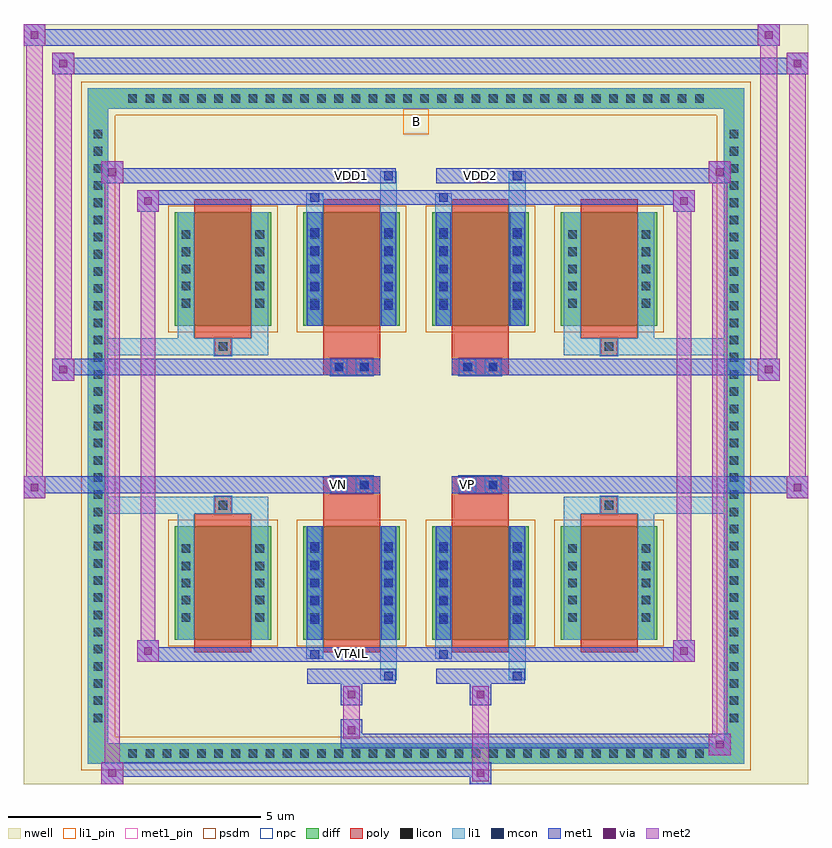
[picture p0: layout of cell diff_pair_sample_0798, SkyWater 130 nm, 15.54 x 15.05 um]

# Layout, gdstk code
import gdstk
lib = gdstk.Library(unit=1e-6, precision=5e-09)
def R(c, l, rs):  # rectangles x0, y0, x1, y1
    for r in rs: c.add(gdstk.rectangle(r[:2], r[2:], *l))
def A(c, l, x, y, w, h, nx, ny, dx, dy):  # array of equal rectangles
    R(c, l, [(x+i*dx, y+j*dy, x+i*dx+w, y+j*dy+h) for i in range(nx) for j in range(ny)])
def P(c, l, *ps):  # polygons
    for p in ps: c.add(gdstk.Polygon(p, *l))
nwell = (64, 20)
diff = (65, 20)
poly = (66, 20)
licon = (66, 44)
li1_pin = (67, 16)
li1 = (67, 20)
mcon = (67, 44)
met1_pin = (68, 16)
met1 = (68, 20)
via = (68, 44)
met2 = (69, 20)
psdm = (94, 20)
npc = (95, 20)

diff_pair_sample_0798 = lib.new_cell('diff_pair_sample_0798')
R(diff_pair_sample_0798, nwell, [(-7.77,-7.09,7.77,7.96), (-5.09,-5.28,-0.01,-0.8), (0.01,-5.28,5.09,-0.8), (-5.09,0.8,-0.01,5.28), (0.01,0.8,5.09,5.28)])
A(diff_pair_sample_0798, diff, -5.815, -6.69, 0.41, 0.41, 34, 2, 0.34, 12.97)
A(diff_pair_sample_0798, diff, -6.5, -5.985, 0.41, 0.41, 1, 35, 0, 0.34)
A(diff_pair_sample_0798, diff, 6.09, -5.985, 0.41, 0.41, 1, 35, 0, 0.34)
A(diff_pair_sample_0798, diff, -4.78, -4.235, 1.91, 2.25, 4, 2, 2.55, 6.22)
R(diff_pair_sample_0798, diff, [(-5.815,-6.69,5.815,-6.28), (-6.5,-5.985,-6.09,5.985), (6.09,-5.985,6.5,5.985), (-5.815,6.28,5.815,6.69)])
P(diff_pair_sample_0798, diff, [(6.5,6.69),(-6.5,6.69),(-6.5,-6.28),(-6.09,-6.28),(-6.09,6.28),(6.09,6.28),(6.09,-6.28),(-6.09,-6.28),(-6.5,-6.28),(-6.5,-6.69),(6.5,-6.69)])
A(diff_pair_sample_0798, poly, -4.39, -4.485, 1.13, 2.75, 4, 2, 2.55, 6.22)
R(diff_pair_sample_0798, poly, [(-3.99,-1.735,-3.66,-1.405), (-3.99,-1.735,-3.66,-1.405), (-1.84,-1.735,-0.71,-1.33), (0.71,-1.735,1.84,-1.33), (3.66,-1.735,3.99,-1.405), (3.66,-1.735,3.99,-1.405), (-1.84,-1.33,-0.71,-1), (-1.69,-1.33,-1.36,-1), (-1.19,-1.33,-0.86,-1), (0.71,-1.33,1.84,-1), (0.86,-1.33,1.19,-1), (1.36,-1.33,1.69,-1), (-1.84,1,-0.71,1.33), (-1.69,1,-1.36,1.33), (-1.19,1,-0.86,1.33), (0.71,1,1.84,1.33), (0.86,1,1.19,1.33), (1.36,1,1.69,1.33), (-1.84,1.33,-0.71,1.735), (0.71,1.33,1.84,1.735), (-3.99,1.405,-3.66,1.735), (-3.99,1.405,-3.66,1.735), (3.66,1.405,3.99,1.735), (3.66,1.405,3.99,1.735)])
A(diff_pair_sample_0798, licon, -5.695, -6.57, 0.17, 0.17, 34, 2, 0.34, 12.97)
A(diff_pair_sample_0798, licon, -6.38, -5.865, 0.17, 0.17, 1, 35, 0, 0.34)
A(diff_pair_sample_0798, licon, 6.21, -5.865, 0.17, 0.17, 1, 35, 0, 0.34)
A(diff_pair_sample_0798, licon, -4.64, -3.875, 0.17, 0.17, 1, 5, 0, 0.34)
A(diff_pair_sample_0798, licon, -3.18, -3.875, 0.17, 0.17, 1, 5, 0, 0.34)
A(diff_pair_sample_0798, licon, -2.09, -3.875, 0.17, 0.17, 1, 5, 0, 0.34)
A(diff_pair_sample_0798, licon, -0.63, -3.875, 0.17, 0.17, 1, 5, 0, 0.34)
A(diff_pair_sample_0798, licon, 0.46, -3.875, 0.17, 0.17, 1, 5, 0, 0.34)
A(diff_pair_sample_0798, licon, 1.92, -3.875, 0.17, 0.17, 1, 5, 0, 0.34)
A(diff_pair_sample_0798, licon, 3.01, -3.875, 0.17, 0.17, 1, 5, 0, 0.34)
A(diff_pair_sample_0798, licon, 4.47, -3.875, 0.17, 0.17, 1, 5, 0, 0.34)
A(diff_pair_sample_0798, licon, -4.64, 2.345, 0.17, 0.17, 1, 5, 0, 0.34)
A(diff_pair_sample_0798, licon, -3.18, 2.345, 0.17, 0.17, 1, 5, 0, 0.34)
A(diff_pair_sample_0798, licon, -2.09, 2.345, 0.17, 0.17, 1, 5, 0, 0.34)
A(diff_pair_sample_0798, licon, -0.63, 2.345, 0.17, 0.17, 1, 5, 0, 0.34)
A(diff_pair_sample_0798, licon, 0.46, 2.345, 0.17, 0.17, 1, 5, 0, 0.34)
A(diff_pair_sample_0798, licon, 1.92, 2.345, 0.17, 0.17, 1, 5, 0, 0.34)
A(diff_pair_sample_0798, licon, 3.01, 2.345, 0.17, 0.17, 1, 5, 0, 0.34)
A(diff_pair_sample_0798, licon, 4.47, 2.345, 0.17, 0.17, 1, 5, 0, 0.34)
R(diff_pair_sample_0798, licon, [(-3.91,-1.655,-3.74,-1.485), (3.74,-1.655,3.91,-1.485), (-1.61,-1.25,-1.44,-1.08), (-1.11,-1.25,-0.94,-1.08), (0.94,-1.25,1.11,-1.08), (1.44,-1.25,1.61,-1.08), (-1.61,1.08,-1.44,1.25), (-1.11,1.08,-0.94,1.25), (0.94,1.08,1.11,1.25), (1.44,1.08,1.61,1.25), (-3.91,1.485,-3.74,1.655), (3.74,1.485,3.91,1.655)])
R(diff_pair_sample_0798, li1_pin, [(-0.25,5.78,0.25,6.28)])
A(diff_pair_sample_0798, li1, -5.775, -6.65, 0.33, 0.33, 34, 2, 0.34, 12.97)
A(diff_pair_sample_0798, li1, -6.46, -5.945, 0.33, 0.33, 1, 35, 0, 0.34)
A(diff_pair_sample_0798, li1, 6.13, -5.945, 0.33, 0.33, 1, 35, 0, 0.34)
A(diff_pair_sample_0798, li1, -4.72, -3.955, 0.33, 0.33, 1, 5, 0, 0.34)
A(diff_pair_sample_0798, li1, -3.26, -3.955, 0.33, 0.33, 1, 5, 0, 0.34)
A(diff_pair_sample_0798, li1, -2.17, -3.955, 0.33, 0.33, 1, 5, 0, 0.34)
A(diff_pair_sample_0798, li1, -0.71, -3.955, 0.33, 0.33, 1, 5, 0, 0.34)
A(diff_pair_sample_0798, li1, 0.38, -3.955, 0.33, 0.33, 1, 5, 0, 0.34)
A(diff_pair_sample_0798, li1, 1.84, -3.955, 0.33, 0.33, 1, 5, 0, 0.34)
A(diff_pair_sample_0798, li1, 2.93, -3.955, 0.33, 0.33, 1, 5, 0, 0.34)
A(diff_pair_sample_0798, li1, 4.39, -3.955, 0.33, 0.33, 1, 5, 0, 0.34)
A(diff_pair_sample_0798, li1, -2.09, -3.915, 0.17, 0.17, 1, 5, 0, 0.36)
A(diff_pair_sample_0798, li1, -0.63, -3.915, 0.17, 0.17, 1, 5, 0, 0.36)
A(diff_pair_sample_0798, li1, 0.46, -3.915, 0.17, 0.17, 1, 5, 0, 0.36)
A(diff_pair_sample_0798, li1, 1.92, -3.915, 0.17, 0.17, 1, 5, 0, 0.36)
A(diff_pair_sample_0798, li1, -4.72, 2.265, 0.33, 0.33, 1, 5, 0, 0.34)
A(diff_pair_sample_0798, li1, -3.26, 2.265, 0.33, 0.33, 1, 5, 0, 0.34)
A(diff_pair_sample_0798, li1, -2.17, 2.265, 0.33, 0.33, 1, 5, 0, 0.34)
A(diff_pair_sample_0798, li1, -0.71, 2.265, 0.33, 0.33, 1, 5, 0, 0.34)
A(diff_pair_sample_0798, li1, 0.38, 2.265, 0.33, 0.33, 1, 5, 0, 0.34)
A(diff_pair_sample_0798, li1, 1.84, 2.265, 0.33, 0.33, 1, 5, 0, 0.34)
A(diff_pair_sample_0798, li1, 2.93, 2.265, 0.33, 0.33, 1, 5, 0, 0.34)
A(diff_pair_sample_0798, li1, 4.39, 2.265, 0.33, 0.33, 1, 5, 0, 0.34)
A(diff_pair_sample_0798, li1, -2.09, 2.305, 0.17, 0.17, 1, 5, 0, 0.36)
A(diff_pair_sample_0798, li1, -0.63, 2.305, 0.17, 0.17, 1, 5, 0, 0.36)
A(diff_pair_sample_0798, li1, 0.46, 2.305, 0.17, 0.17, 1, 5, 0, 0.36)
A(diff_pair_sample_0798, li1, 1.92, 2.305, 0.17, 0.17, 1, 5, 0, 0.36)
R(diff_pair_sample_0798, li1, [(-6.5,-6.69,-6.09,-6.28), (-6.5,-6.69,-6.09,-6.28), (-6.09,-6.69,6.09,-6.28), (6.09,-6.69,6.5,-6.28), (6.09,-6.69,6.5,-6.28), (-6.5,-6.28,-6.09,6.28), (6.09,-6.28,6.5,6.28), (-0.71,-5.04,-0.38,-4.235), (-0.63,-5.04,-0.46,-4.87), (1.84,-5.04,2.17,-4.235), (1.92,-5.04,2.09,-4.87), (-2.17,-4.61,-1.84,-4.235), (-2.09,-4.61,-1.92,-4.44), (0.38,-4.61,0.71,-4.235), (0.46,-4.61,0.63,-4.44), (-4.72,-4.235,-4.39,-1.985), (-3.26,-4.235,-2.93,-1.985), (-2.17,-4.235,-1.84,-1.985), (-0.71,-4.235,-0.38,-1.985), (0.38,-4.235,0.71,-1.985), (1.84,-4.235,2.17,-1.985), (2.93,-4.235,3.26,-1.985), (4.39,-4.235,4.72,-1.985), (-2.09,-3.915,-1.92,-2.305), (-0.63,-3.915,-0.46,-2.305), (0.46,-3.915,0.63,-2.305), (1.92,-3.915,2.09,-2.305), (-4.72,-1.985,-4.39,-1.405), (-3.26,-1.985,-2.93,-1.405), (2.93,-1.985,3.26,-1.405), (4.39,-1.985,4.72,-1.405), (-6.5,-1.735,-3.99,-1.405), (-4.72,-1.735,-3.99,-1.405), (-3.99,-1.735,-3.66,-1.405), (-3.66,-1.735,-2.93,-1.405), (2.93,-1.735,3.66,-1.405), (3.66,-1.735,3.99,-1.405), (3.66,-1.735,6.5,-1.405), (3.99,-1.735,4.72,-1.405), (-1.69,-1.33,-1.36,-1), (-1.19,-1.33,-0.86,-1), (0.86,-1.33,1.19,-1), (1.36,-1.33,1.69,-1), (-1.69,1,-1.36,1.33), (-1.19,1,-0.86,1.33), (0.86,1,1.19,1.33), (1.36,1,1.69,1.33), (-6.5,1.405,-3.99,1.735), (-4.72,1.405,-3.99,1.735), (-4.72,1.405,-4.39,1.985), (-3.99,1.405,-3.66,1.735), (-3.66,1.405,-2.93,1.735), (-3.26,1.405,-2.93,1.985), (2.93,1.405,3.66,1.735), (2.93,1.405,3.26,1.985), (3.66,1.405,3.99,1.735), (3.66,1.405,6.5,1.735), (3.99,1.405,4.72,1.735), (4.39,1.405,4.72,1.985), (-4.72,1.985,-4.39,4.235), (-3.26,1.985,-2.93,4.235), (-2.17,1.985,-1.84,4.235), (-0.71,1.985,-0.38,4.235), (0.38,1.985,0.71,4.235), (1.84,1.985,2.17,4.235), (2.93,1.985,3.26,4.235), (4.39,1.985,4.72,4.235), (-2.09,2.305,-1.92,3.915), (-0.63,2.305,-0.46,3.915), (0.46,2.305,0.63,3.915), (1.92,2.305,2.09,3.915), (-2.17,4.235,-1.84,4.61), (-0.71,4.235,-0.38,5.04), (0.38,4.235,0.71,4.61), (1.84,4.235,2.17,5.04), (-2.09,4.44,-1.92,4.61), (0.46,4.44,0.63,4.61), (-0.63,4.87,-0.46,5.04), (1.92,4.87,2.09,5.04), (-6.5,6.28,-6.09,6.69), (-6.5,6.28,-6.09,6.69), (-6.09,6.28,6.09,6.69), (6.09,6.28,6.5,6.69), (6.09,6.28,6.5,6.69)])
A(diff_pair_sample_0798, mcon, -2.09, -3.915, 0.17, 0.17, 1, 5, 0, 0.36)
A(diff_pair_sample_0798, mcon, -0.63, -3.915, 0.17, 0.17, 1, 5, 0, 0.36)
A(diff_pair_sample_0798, mcon, 0.46, -3.915, 0.17, 0.17, 1, 5, 0, 0.36)
A(diff_pair_sample_0798, mcon, 1.92, -3.915, 0.17, 0.17, 1, 5, 0, 0.36)
A(diff_pair_sample_0798, mcon, -2.09, 2.305, 0.17, 0.17, 1, 5, 0, 0.36)
A(diff_pair_sample_0798, mcon, -0.63, 2.305, 0.17, 0.17, 1, 5, 0, 0.36)
A(diff_pair_sample_0798, mcon, 0.46, 2.305, 0.17, 0.17, 1, 5, 0, 0.36)
A(diff_pair_sample_0798, mcon, 1.92, 2.305, 0.17, 0.17, 1, 5, 0, 0.36)
R(diff_pair_sample_0798, mcon, [(-0.63,-5.04,-0.46,-4.87), (1.92,-5.04,2.09,-4.87), (-2.09,-4.61,-1.92,-4.44), (0.46,-4.61,0.63,-4.44), (-1.61,-1.25,-1.44,-1.08), (-1.11,-1.25,-0.94,-1.08), (0.94,-1.25,1.11,-1.08), (1.44,-1.25,1.61,-1.08), (-1.61,1.08,-1.44,1.25), (-1.11,1.08,-0.94,1.25), (0.94,1.08,1.11,1.25), (1.44,1.08,1.61,1.25), (-2.09,4.44,-1.92,4.61), (0.46,4.44,0.63,4.61), (-0.63,4.87,-0.46,5.04), (1.92,4.87,2.09,5.04)])
R(diff_pair_sample_0798, met1_pin, [(-1.41,-4.65,-1.14,-4.38), (-1.66,-1.29,-1.39,-1.02), (0.89,-1.29,1.16,-1.02), (-1.41,4.83,-1.14,5.1), (1.14,4.83,1.41,5.1)])
A(diff_pair_sample_0798, met1, -2.15, -3.975, 0.29, 0.29, 1, 5, 0, 0.36)
A(diff_pair_sample_0798, met1, -0.69, -3.975, 0.29, 0.29, 1, 5, 0, 0.36)
A(diff_pair_sample_0798, met1, 0.4, -3.975, 0.29, 0.29, 1, 5, 0, 0.36)
A(diff_pair_sample_0798, met1, 1.86, -3.975, 0.29, 0.29, 1, 5, 0, 0.36)
A(diff_pair_sample_0798, met1, -2.15, 2.245, 0.29, 0.29, 1, 5, 0, 0.36)
A(diff_pair_sample_0798, met1, -0.69, 2.245, 0.29, 0.29, 1, 5, 0, 0.36)
A(diff_pair_sample_0798, met1, 0.4, 2.245, 0.29, 0.29, 1, 5, 0, 0.36)
A(diff_pair_sample_0798, met1, 1.86, 2.245, 0.29, 0.29, 1, 5, 0, 0.36)
R(diff_pair_sample_0798, met1, [(-6.23,-7.09,-5.8,-6.66), (1.06,-7.09,1.49,-6.66), (-6.23,-6.95,1.49,-6.66), (5.8,-6.52,6.23,-6.09), (-1.49,-6.38,6.23,-6.09), (-1.49,-6.24,-1.06,-5.81), (-1.49,-5.53,-1.06,-5.1), (1.06,-5.53,1.49,-5.1), (-2.15,-5.1,-0.4,-4.81), (-0.69,-5.1,-0.4,-4.81), (0.4,-5.1,2.15,-4.81), (1.86,-5.1,2.15,-4.81), (-5.52,-4.67,-5.09,-4.24), (-5.52,-4.67,-2.15,-4.38), (-2.15,-4.67,-1.86,-4.38), (-2.15,-4.67,-0.4,-4.38), (-0.4,-4.67,0.4,-4.38), (0.4,-4.67,0.69,-4.38), (0.4,-4.67,2.15,-4.38), (2.15,-4.67,5.52,-4.38), (5.09,-4.67,5.52,-4.24), (-2.15,-4.235,-1.86,-1.985), (-0.69,-4.235,-0.4,-1.985), (0.4,-4.235,0.69,-1.985), (1.86,-4.235,2.15,-1.985), (-7.77,-1.43,-7.34,-1), (7.34,-1.43,7.77,-1), (-7.77,-1.33,-0.71,-1), (-1.84,-1.33,-0.71,-1), (0.71,-1.33,1.84,-1), (0.71,-1.33,7.77,-1), (-1.67,-1.31,-1.38,-1.02), (-1.17,-1.31,-0.88,-1.02), (0.88,-1.31,1.17,-1.02), (1.38,-1.31,1.67,-1.02), (-7.2,0.9,-6.77,1.33), (6.77,0.9,7.2,1.33), (-7.2,1,-1.84,1.33), (-1.84,1,-0.71,1.33), (0.71,1,1.84,1.33), (1.84,1,7.2,1.33), (-1.67,1.02,-1.38,1.31), (-1.17,1.02,-0.88,1.31), (0.88,1.02,1.17,1.31), (1.38,1.02,1.67,1.31), (-2.15,1.985,-1.86,4.235), (-0.69,1.985,-0.4,4.235), (0.4,1.985,0.69,4.235), (1.86,1.985,2.15,4.235), (-5.52,4.24,-5.09,4.67), (5.09,4.24,5.52,4.67), (-5.52,4.38,-2.15,4.67), (-2.15,4.38,-1.86,4.67), (-2.15,4.38,-0.4,4.67), (-0.4,4.38,0.4,4.67), (0.4,4.38,0.69,4.67), (0.4,4.38,2.15,4.67), (2.15,4.38,5.52,4.67), (-6.23,4.81,-5.8,5.24), (-6.23,4.81,-2.15,5.1), (-2.15,4.81,-0.4,5.1), (-0.69,4.81,-0.4,5.1), (0.4,4.81,2.15,5.1), (1.86,4.81,2.15,5.1), (2.15,4.81,6.23,5.1), (5.8,4.81,6.23,5.24), (-7.2,6.96,-6.77,7.39), (-7.2,6.96,-5.09,7.29), (-5.09,6.96,5.09,7.29), (5.09,6.96,7.77,7.29), (7.34,6.96,7.77,7.39), (-7.77,7.53,-7.34,7.96), (-7.77,7.53,-5.09,7.86), (-5.09,7.53,5.09,7.86), (5.09,7.53,7.2,7.86), (6.77,7.53,7.2,7.96)])
R(diff_pair_sample_0798, via, [(-6.09,-6.95,-5.94,-6.8), (1.2,-6.95,1.35,-6.8), (5.94,-6.38,6.09,-6.23), (-1.35,-6.1,-1.2,-5.95), (-1.35,-5.39,-1.2,-5.24), (1.2,-5.39,1.35,-5.24), (-5.38,-4.53,-5.23,-4.38), (5.23,-4.53,5.38,-4.38), (-7.63,-1.29,-7.48,-1.14), (7.48,-1.29,7.63,-1.14), (-7.06,1.04,-6.91,1.19), (6.91,1.04,7.06,1.19), (-5.38,4.38,-5.23,4.53), (5.23,4.38,5.38,4.53), (-6.09,4.95,-5.94,5.1), (5.94,4.95,6.09,5.1), (-7.06,7.1,-6.91,7.25), (7.48,7.1,7.63,7.25), (-7.63,7.67,-7.48,7.82), (6.91,7.67,7.06,7.82)])
R(diff_pair_sample_0798, met2, [(-6.23,-7.09,-5.8,-6.66), (-6.16,-7.09,-5.87,5.24), (-5.87,-7.09,-5.8,-6.66), (-6.18,-7.04,-5.85,-6.71), (1.11,-7.04,1.44,-6.71), (1.11,-6.71,1.44,-5.48), (5.8,-6.52,6.23,-6.09), (5.87,-6.52,6.16,5.24), (6.16,-6.52,6.23,-6.09), (5.85,-6.47,6.18,-6.14), (-1.44,-6.19,-1.11,-5.86), (-1.44,-5.86,-1.11,-5.48), (-1.44,-5.48,-1.11,-5.15), (1.11,-5.48,1.44,-5.15), (-5.52,-4.67,-5.09,-4.24), (-5.45,-4.67,-5.16,4.67), (-5.16,-4.67,-5.09,-4.24), (5.09,-4.67,5.52,-4.24), (5.16,-4.67,5.45,4.67), (5.45,-4.67,5.52,-4.24), (-5.47,-4.62,-5.14,-4.29), (5.14,-4.62,5.47,-4.29), (-7.77,-1.43,-7.34,-1), (-7.72,-1.43,-7.39,7.96), (-7.39,-1.43,-7.34,-1), (7.34,-1.43,7.77,-1), (7.39,-1.43,7.72,7.39), (7.72,-1.43,7.77,-1), (-7.72,-1.38,-7.39,-1.05), (7.39,-1.38,7.72,-1.05), (-7.2,0.9,-6.77,1.33), (-7.15,0.9,-6.82,7.39), (-6.82,0.9,-6.77,1.33), (6.77,0.9,7.2,1.33), (6.82,0.9,7.15,7.96), (7.15,0.9,7.2,1.33), (-7.15,0.95,-6.82,1.28), (6.82,0.95,7.15,1.28), (-5.52,4.24,-5.09,4.67), (-5.16,4.24,-5.09,4.67), (5.09,4.24,5.52,4.67), (5.45,4.24,5.52,4.67), (-5.47,4.29,-5.14,4.62), (5.14,4.29,5.47,4.62), (-6.23,4.81,-5.8,5.24), (-5.87,4.81,-5.8,5.24), (5.8,4.81,6.23,5.24), (6.16,4.81,6.23,5.24), (-6.18,4.86,-5.85,5.19), (5.85,4.86,6.18,5.19), (-7.2,6.96,-6.77,7.39), (-6.82,6.96,-6.77,7.39), (7.34,6.96,7.77,7.39), (7.72,6.96,7.77,7.39), (-7.15,7.01,-6.82,7.34), (7.39,7.01,7.72,7.34), (-7.77,7.53,-7.34,7.96), (-7.39,7.53,-7.34,7.96), (6.77,7.53,7.2,7.96), (7.15,7.53,7.2,7.96), (-7.72,7.58,-7.39,7.91), (6.82,7.58,7.15,7.91)])
A(diff_pair_sample_0798, psdm, -4.91, -4.365, 2.17, 2.51, 4, 2, 2.55, 6.22)
P(diff_pair_sample_0798, psdm, [(6.63,6.82),(-6.63,6.82),(-6.63,-6.15),(-5.96,-6.15),(-5.96,6.15),(5.96,6.15),(5.96,-6.15),(-5.96,-6.15),(-6.63,-6.15),(-6.63,-6.82),(6.63,-6.82)])
R(diff_pair_sample_0798, npc, [(-4.01,-1.755,-3.64,-1.385), (3.64,-1.755,4.01,-1.385), (-1.71,-1.35,-1.34,-0.98), (-1.71,-1.35,-0.84,-0.98), (-1.71,-1.35,-0.84,-0.98), (-1.21,-1.35,-0.84,-0.98), (0.84,-1.35,1.21,-0.98), (0.84,-1.35,1.71,-0.98), (0.84,-1.35,1.71,-0.98), (1.34,-1.35,1.71,-0.98), (-1.71,0.98,-1.34,1.35), (-1.71,0.98,-0.84,1.35), (-1.71,0.98,-0.84,1.35), (-1.21,0.98,-0.84,1.35), (0.84,0.98,1.21,1.35), (0.84,0.98,1.71,1.35), (0.84,0.98,1.71,1.35), (1.34,0.98,1.71,1.35), (-4.01,1.385,-3.64,1.755), (3.64,1.385,4.01,1.755)])
diff_pair_sample_0798.add(gdstk.Label('VTAIL', (-1.275,-4.515), layer=68, texttype=5))
diff_pair_sample_0798.add(gdstk.Label('VN', (-1.525,-1.155), layer=68, texttype=5))
diff_pair_sample_0798.add(gdstk.Label('VP', (1.025,-1.155), layer=68, texttype=5))
diff_pair_sample_0798.add(gdstk.Label('B', (0,6.03), layer=67, texttype=5))
diff_pair_sample_0798.add(gdstk.Label('VDD2', (1.275,4.965), layer=68, texttype=5))
diff_pair_sample_0798.add(gdstk.Label('VDD1', (-1.275,4.965), layer=68, texttype=5))

lib.write_gds('diff_pair_sample_0798.gds')
